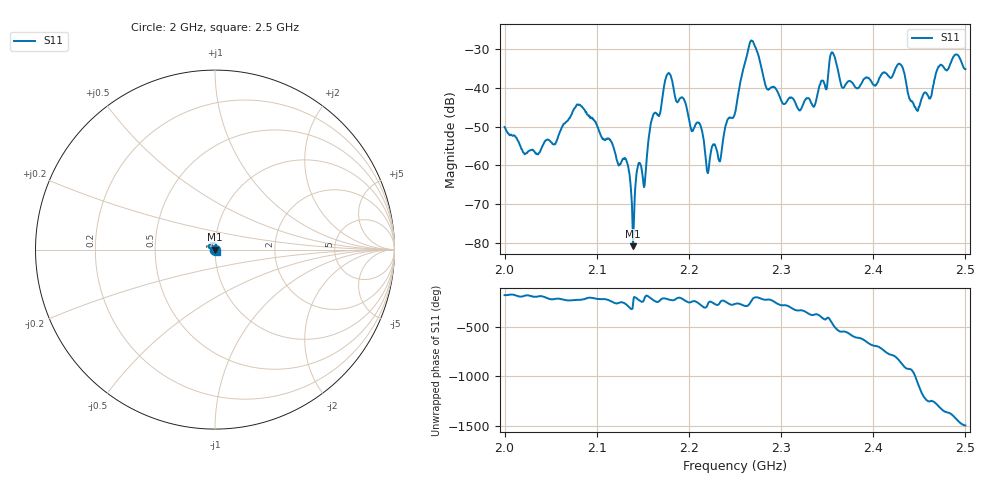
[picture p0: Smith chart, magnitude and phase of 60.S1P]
! C:\Users\rflab\Downloads\dp2_kdzw\60.S1P
! Touchstone 1.1 file saved by VNA.EXE V1.65 (www.ke5fx.com/gpib/readme.htm)
! 12/12/2024 6:51:33 PM
!  Source: HEWLETT PACKARD,8753D,0,6.14
!  Min freq: 2.000000E+009 Hz
!  Max freq: 2.500000E+009 Hz
!  Points: 801
!  Params: S21
# GHZ S MA R 50
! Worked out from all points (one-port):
!   801 points, 2 GHz to 2.5 GHz, reference 50 ohm
!   lowest |S11| = -80.9 dB at 2.139 GHz (marker M1), VSWR 1.00, Z = 50 + j0.00885 ohm
!   |S11| at or under -10 dB: start of sweep to end of sweep
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2  0.00314 -173.6
2.035625  0.001395 171.6
2.0625  0.003183 144.0
2.0825  0.005925 139.2
2.125  0.001033 109.9
2.133125  0.001065 81.8
2.139375  9e-05 100.6
2.145  0.001018 141.3
2.151875  0.00055 156.4
2.159375  0.003764 148.9
2.175625  0.01434 150.0
2.1875  0.006529 156.2
2.211875  0.003438 92.8
2.220625  0.000793 96.4
2.23375  0.001127 111.3
2.25  0.004794 96.7
2.268125  0.04104 134.4
2.285  0.009677 140.8
2.3125  0.007392 49.1
2.335625  0.005728 -12.9
2.355625  0.02898 -103.7
2.36625  0.01021 175.1
2.375  0.01234 147.2
2.42875  0.02063 -124.0
2.4375  0.008725 157.8
2.4475  0.005223 32.0
2.471875  0.01941 128.6
2.5  0.01757 -57.2
